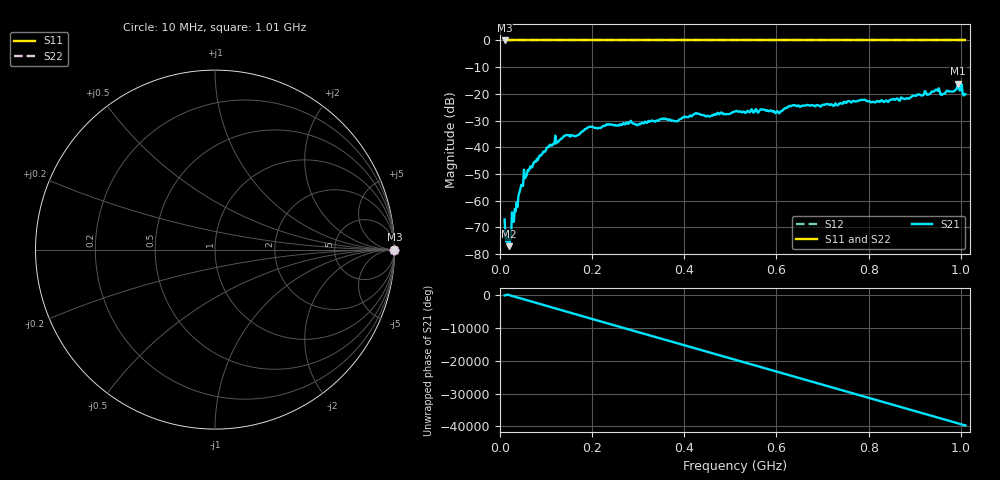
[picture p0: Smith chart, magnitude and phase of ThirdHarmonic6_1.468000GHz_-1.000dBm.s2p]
! 8/16/2025 5:06:15 PM
! C:\ANRITSUVNA\TEMP\TEMP.S2P
! CHANNEL.1
! TR.MEASUREMENT
! RAW.DATA
! RF.CORRECTION.OFF
! AVERAGING.OFF
! IF.BANDWIDTH: 5KHZ
! SWEEPTYPE:  FREQ.SWEEP(Linear)
! Reference Plane Port Info
! PORT:  PORT1  PORT2
! DISTANCE:  0  m  0  m
! TIME:  0  s  0  s
! PHASE.OFFSET:  0  deg.  0  deg.
! LOSS:  0  dB  0  dB
! REF.LOSS:  0  dB  0  dB
! REF.FREQ:  0  Hz  0  Hz
! Power Info
! POWER:  -20  dBm  -20  dBm
! EFF.POWER:  -20  dBm  -20  dBm
! SOURCE.ATTEN:  0  dB  0  dB
! TEST.ATTEN:  0  dB  0  dB
# GHZ S RI R 50.0
! FREQ.GHZ  S11RE  S11IM  S21RE  S21IM  S12RE  S12IM  S22RE  S22IM
!; PortSelection: Port_12
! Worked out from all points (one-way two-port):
!   501 points, 10 MHz to 1.01 GHz, reference 50 ohm
!   highest |S21| = -16.14 dB at 994 MHz (marker M1); lowest = -77.0 dB at 20 MHz (marker M2)
!   lowest |S11| = 0.0 dB at 10 MHz (marker M3)
!   |S11| at or under -10 dB: nowhere
!   |S22| runs from 0.0 to 0.0 dB; largest |S21 - S12| = 1.1
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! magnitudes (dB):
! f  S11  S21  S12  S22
! 10 MHz  0.0  -67.0  0.0  0.0
! 16 MHz  0.0  -73.4  0.0  0.0
! 20 MHz  0.0  -77.0  0.0  0.0
! 30 MHz  0.0  -67.9  0.0  0.0
! 48 MHz  0.0  -54.1  0.0  0.0
! 56 MHz  0.0  -51.0  0.0  0.0
! 106 MHz  0.0  -39.9  0.0  0.0
! 142 MHz  0.0  -35.5  0.0  0.0
! 178 MHz  0.0  -34.1  0.0  0.0
! 196 MHz  0.0  -32.3  0.0  0.0
! 344 MHz  0.0  -30.0  0.0  0.0
! 382 MHz  0.0  -30.1  0.0  0.0
! 424 MHz  0.0  -27.3  0.0  0.0
! 510 MHz  0.0  -26.6  0.0  0.0
! 602 MHz  0.0  -26.4  0.0  0.0
! 632 MHz  0.0  -24.6  0.0  0.0
! 678 MHz  0.0  -24.2  0.0  0.0
! 844 MHz  0.0  -22.7  0.0  0.0
! 948 MHz  0.0  -18.5  0.0  0.0
! 960 MHz  0.0  -20.2  0.0  0.0
! 994 MHz  0.0  -16.1  0.0  0.0
! 1.01 GHz  0.0  -20.1  0.0  0.0
